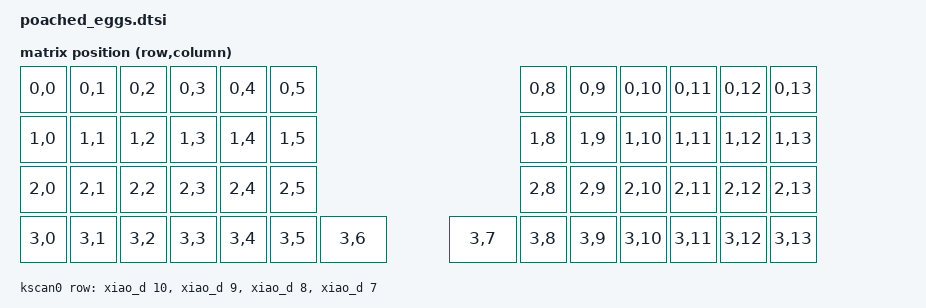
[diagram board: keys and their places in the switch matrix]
#include <dt-bindings/zmk/matrix_transform.h>
#include <physical_layouts.dtsi>

/ {
    chosen {
        zmk,physical-layout = &poached_eggs_physical_layout;
    };

    poached_eggs_physical_layout: poached_eggs_physical_layout {
        compatible = "zmk,physical-layout";
        display-name = "Default";
        transform = <&default_transform>;
        kscan = <&kscan0>;

        keys  //                     w   h    x    y     rot    rx    ry
            = <&key_physical_attrs 100 100    0    0       0     0     0>
            , <&key_physical_attrs 100 100  100    0       0     0     0>
            , <&key_physical_attrs 100 100  200    0       0     0     0>
            , <&key_physical_attrs 100 100  300    0       0     0     0>
            , <&key_physical_attrs 100 100  400    0       0     0     0>
            , <&key_physical_attrs 100 100  500    0       0     0     0>
            , <&key_physical_attrs 100 100 1000    0       0     0     0>
            , <&key_physical_attrs 100 100 1100    0       0     0     0>
            , <&key_physical_attrs 100 100 1200    0       0     0     0>
            , <&key_physical_attrs 100 100 1300    0       0     0     0>
            , <&key_physical_attrs 100 100 1400    0       0     0     0>
            , <&key_physical_attrs 100 100 1500    0       0     0     0>
            , <&key_physical_attrs 100 100    0  100       0     0     0>
            , <&key_physical_attrs 100 100  100  100       0     0     0>
            , <&key_physical_attrs 100 100  200  100       0     0     0>
            , <&key_physical_attrs 100 100  300  100       0     0     0>
            , <&key_physical_attrs 100 100  400  100       0     0     0>
            , <&key_physical_attrs 100 100  500  100       0     0     0>
            , <&key_physical_attrs 100 100 1000  100       0     0     0>
            , <&key_physical_attrs 100 100 1100  100       0     0     0>
            , <&key_physical_attrs 100 100 1200  100       0     0     0>
            , <&key_physical_attrs 100 100 1300  100       0     0     0>
            , <&key_physical_attrs 100 100 1400  100       0     0     0>
            , <&key_physical_attrs 100 100 1500  100       0     0     0>
            , <&key_physical_attrs 100 100    0  200       0     0     0>
            , <&key_physical_attrs 100 100  100  200       0     0     0>
            , <&key_physical_attrs 100 100  200  200       0     0     0>
            , <&key_physical_attrs 100 100  300  200       0     0     0>
            , <&key_physical_attrs 100 100  400  200       0     0     0>
            , <&key_physical_attrs 100 100  500  200       0     0     0>
            , <&key_physical_attrs 100 100 1000  200       0     0     0>
            , <&key_physical_attrs 100 100 1100  200       0     0     0>
            , <&key_physical_attrs 100 100 1200  200       0     0     0>
            , <&key_physical_attrs 100 100 1300  200       0     0     0>
            , <&key_physical_attrs 100 100 1400  200       0     0     0>
            , <&key_physical_attrs 100 100 1500  200       0     0     0>
            , <&key_physical_attrs 100 100    0  300       0     0     0>
            , <&key_physical_attrs 100 100  100  300       0     0     0>
            , <&key_physical_attrs 100 100  200  300       0     0     0>
            , <&key_physical_attrs 100 100  300  300       0     0     0>
            , <&key_physical_attrs 100 100  400  300       0     0     0>
            , <&key_physical_attrs 100 100  500  300       0     0     0>
            , <&key_physical_attrs 140 100  600  300       0     0     0>
            , <&key_physical_attrs 140 100  860  300       0     0     0>
            , <&key_physical_attrs 100 100 1000  300       0     0     0>
            , <&key_physical_attrs 100 100 1100  300       0     0     0>
            , <&key_physical_attrs 100 100 1200  300       0     0     0>
            , <&key_physical_attrs 100 100 1300  300       0     0     0>
            , <&key_physical_attrs 100 100 1400  300       0     0     0>
            , <&key_physical_attrs 100 100 1500  300       0     0     0>
            ;
    };

    default_transform: keymap_transform_0 {
        compatible = "zmk,matrix-transform";
        columns = <14>;
        rows = <4>;

// | L_SW1  | L_SW2  | L_SW3  | L_SW4  | L_SW5  | L_SW6  |                     | R_SW1  | R_SW2  | R_SW3  | R_SW4  | R_SW5  | R_SW6  |
// | L_SW7  | L_SW8  | L_SW9  | L_SW10 | L_SW11 | L_SW12 |                     | R_SW7  | R_SW8  | R_SW9  | R_SW10 | R_SW11 | R_SW12 |
// | L_SW13 | L_SW14 | L_SW15 | L_SW16 | L_SW17 | L_SW18 |                     | R_SW13 | R_SW14 | R_SW15 | R_SW16 | R_SW17 | R_SW18 |
// | L_SW19 | L_SW20 | L_SW21 | L_SW22 | L_SW23 | L_SW24 | L_SW25 |   | R_SW19 | R_SW20 | R_SW21 | R_SW22 | R_SW23 | R_SW24 | R_SW25 |


        map = <
RC(0,0) RC(0,1) RC(0,2) RC(0,3) RC(0,4) RC(0,5)                 RC(0,8) RC(0,9) RC(0,10) RC(0,11) RC(0,12) RC(0,13)
RC(1,0) RC(1,1) RC(1,2) RC(1,3) RC(1,4) RC(1,5)                 RC(1,8) RC(1,9) RC(1,10) RC(1,11) RC(1,12) RC(1,13)
RC(2,0) RC(2,1) RC(2,2) RC(2,3) RC(2,4) RC(2,5)                 RC(2,8) RC(2,9) RC(2,10) RC(2,11) RC(2,12) RC(2,13)
RC(3,0) RC(3,1) RC(3,2) RC(3,3) RC(3,4) RC(3,5) RC(3,6) RC(3,7) RC(3,8) RC(3,9) RC(3,10) RC(3,11) RC(3,12) RC(3,13)
        >;
    };

    kscan0: kscan {
        compatible = "zmk,kscan-gpio-matrix";
        diode-direction = "col2row";
        wakeup-source;

        row-gpios
            = <&xiao_d 10 (GPIO_ACTIVE_HIGH | GPIO_PULL_DOWN)>
            , <&xiao_d 9 (GPIO_ACTIVE_HIGH | GPIO_PULL_DOWN)>
            , <&xiao_d 8 (GPIO_ACTIVE_HIGH | GPIO_PULL_DOWN)>
            , <&xiao_d 7 (GPIO_ACTIVE_HIGH | GPIO_PULL_DOWN)>
            ;
    };
};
